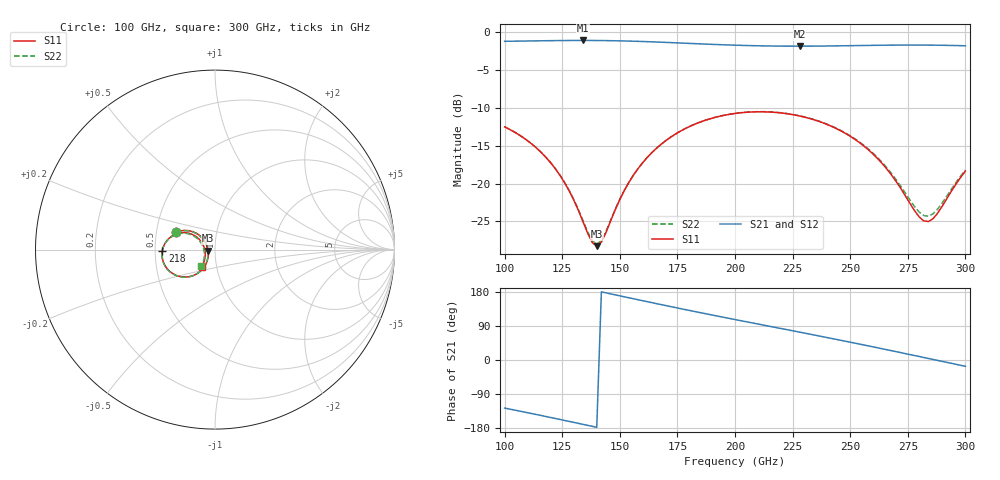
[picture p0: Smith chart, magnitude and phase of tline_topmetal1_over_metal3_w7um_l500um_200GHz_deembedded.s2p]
! Created with skrf 2.2.0 (http://scikit-rf.org).
# GHz S DB R 50.0
! Port[1] = P1
! Port[2] = P2
!freq dBS11 angS11 dBS21 angS21 dBS12 angS12 dBS22 angS22
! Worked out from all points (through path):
!   101 points, 100 GHz to 300 GHz, reference 50 ohm
!   highest |S21| = -1.13 dB at 134 GHz (marker M1); lowest = -1.9 dB at 228 GHz (marker M2)
!   group delay of S21, straight-line fit = 3.44 ps
!   lowest |S11| = -28.3 dB at 140 GHz (marker M3), VSWR 1.08, Z = 46.3 - j0.498 ohm
!   |S11| at or under -10 dB: start of sweep to end of sweep
!   |S22| runs from -28.0 to -10.5 dB; largest |S21 - S12| = 9.4e-14
!   S11 on the Smith chart (normalised r, x): 100 GHz: 0.63, +0.13; 218 GHz: 0.55, -0.01; 300 GHz: 0.85, -0.16
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100  -12.53 155.8  -1.24 -126.8  -1.24 -126.8  -12.51 156.3
110  -14.37 146.1  -1.20 -139.2  -1.20 -139.2  -14.34 146.7
120  -17.27 138.7  -1.16 -151.8  -1.16 -151.8  -17.24 139.4
128  -20.96 138.0  -1.13 -162.0  -1.13 -162.0  -20.89 138.9
134  -25.01 148.5  -1.13 -169.8  -1.13 -169.8  -24.87 149.5
138  -27.76 170.9  -1.13 -175.0  -1.13 -175.0  -27.53 171.4
140  -28.26 -172.0  -1.14 -177.6  -1.14 -177.6  -28.01 -172.0
142  -27.73 -155.0  -1.14 179.8  -1.14 179.8  -27.52 -155.4
150  -22.11 -124.3  -1.18 169.3  -1.18 169.3  -22.06 -124.7
156  -18.86 -122.0  -1.23 161.5  -1.23 161.5  -18.84 -122.1
168  -14.81 -128.9  -1.36 146.1  -1.36 146.1  -14.80 -128.8
184  -12.00 -143.9  -1.57 126.1  -1.57 126.1  -11.99 -143.6
200  -10.76 -160.1  -1.75 106.8  -1.75 106.8  -10.74 -159.6
218  -10.63 -178.1  -1.87 85.4  -1.87 85.4  -10.61 -177.5
228  -11.09 172.1  -1.88 73.6  -1.88 73.6  -11.06 172.9
234  -11.56 166.4  -1.87 66.4  -1.87 66.4  -11.53 167.3
252  -14.16 151.2  -1.81 44.5  -1.81 44.5  -14.09 152.5
268  -18.90 145.9  -1.75 24.5  -1.75 24.5  -18.70 148.0
280  -24.42 171.1  -1.74 9.1  -1.74 9.1  -23.79 172.6
284  -25.01 -167.6  -1.74 4.0  -1.74 4.0  -24.31 -168.1
288  -23.89 -148.1  -1.76 -1.2  -1.76 -1.2  -23.35 -150.0
300  -18.36 -128.4  -1.83 -16.6  -1.83 -16.6  -18.22 -130.2
